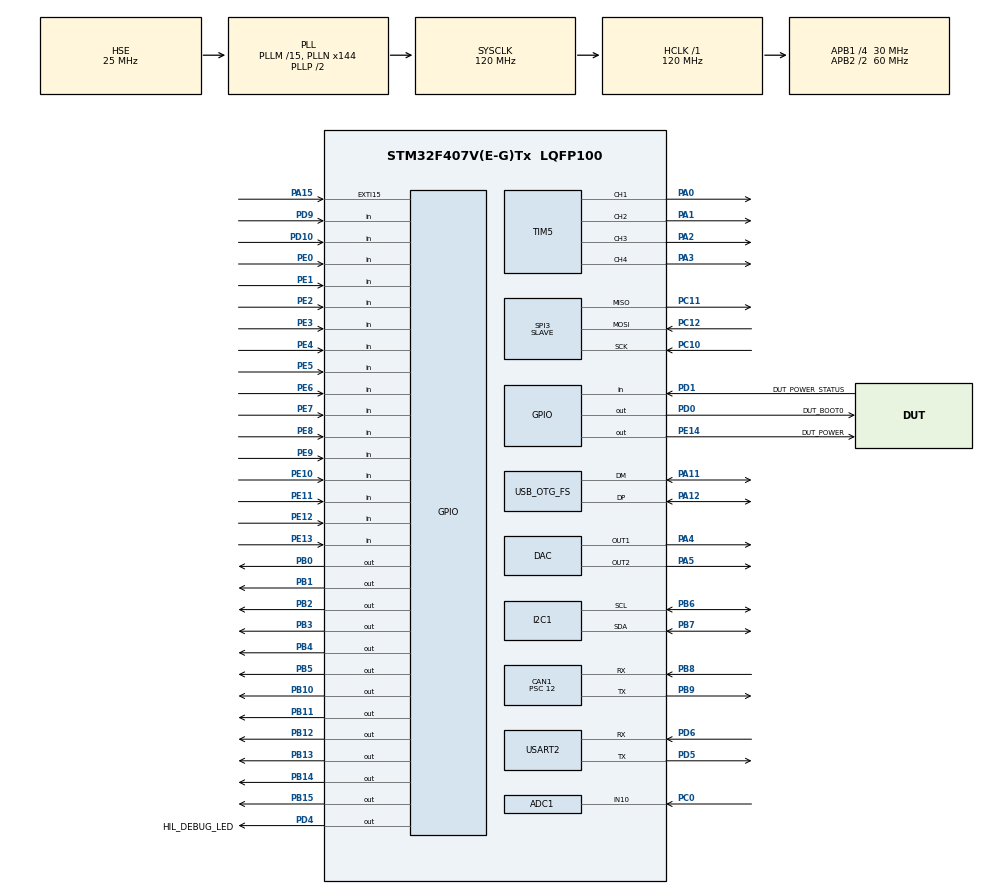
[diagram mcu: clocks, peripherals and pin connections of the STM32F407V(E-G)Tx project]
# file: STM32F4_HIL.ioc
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ADC1.Channel-2\#ChannelRegularConversion=ADC_CHANNEL_10
ADC1.NbrOfConversionFlag=1
ADC1.Rank-2\#ChannelRegularConversion=1
ADC1.SamplingTime-2\#ChannelRegularConversion=ADC_SAMPLETIME_3CYCLES
ADC1.master=1
CAN1.BS1=CAN_BS1_2TQ
CAN1.BS2=CAN_BS2_2TQ
CAN1.CalculateBaudRate=500000
CAN1.CalculateTimeBit=2000
CAN1.CalculateTimeQuantum=400.0
CAN1.Prescaler=12
DAC.DAC_Trigger=DAC_TRIGGER_T4_TRGO
Dma.DAC1.0.Direction=DMA_MEMORY_TO_PERIPH
Dma.DAC1.0.FIFOMode=DMA_FIFOMODE_DISABLE
Dma.DAC1.0.Instance=DMA1_Stream5
Dma.DAC1.0.MemDataAlignment=DMA_MDATAALIGN_WORD
Dma.DAC1.0.MemInc=DMA_MINC_ENABLE
Dma.DAC1.0.Mode=DMA_CIRCULAR
Dma.DAC1.0.PeriphDataAlignment=DMA_PDATAALIGN_WORD
Dma.DAC1.0.PeriphInc=DMA_PINC_DISABLE
Dma.DAC1.0.Priority=DMA_PRIORITY_LOW
Dma.Request0=DAC1
Mcu.Family=STM32F4
Mcu.Name=STM32F407V(E-G)Tx
Mcu.Package=LQFP100
NVIC.CAN1_RX0_IRQn=true\:6\:0\:true\:false\:true\:true\:true\:true
NVIC.DMA1_Stream5_IRQn=true\:0\:0\:false\:false\:true\:false\:true\:true
NVIC.EXTI15_10_IRQn=true\:6\:0\:true\:false\:true\:true\:true\:true
NVIC.I2C1_ER_IRQn=true\:6\:0\:true\:false\:true\:true\:true\:true
NVIC.I2C1_EV_IRQn=true\:6\:0\:true\:false\:true\:true\:true\:true
NVIC.OTG_FS_IRQn=true\:6\:0\:true\:false\:true\:false\:true\:true
NVIC.PriorityGroup=NVIC_PRIORITYGROUP_4
NVIC.SPI3_IRQn=true\:6\:0\:true\:false\:true\:true\:true\:true
NVIC.TIM1_UP_TIM10_IRQn=true\:15\:0\:false\:false\:true\:false\:true\:true
NVIC.TIM2_IRQn=true\:6\:0\:true\:false\:true\:true\:true\:true
NVIC.TIM3_IRQn=true\:6\:0\:true\:false\:true\:true\:true\:true
NVIC.TimeBase=TIM1_UP_TIM10_IRQn
NVIC.TimeBaseIP=TIM1
NVIC.USART2_IRQn=true\:6\:0\:true\:false\:true\:true\:true\:true
PA0-WKUP.Signal=S_TIM5_CH1
PA1.Signal=S_TIM5_CH2
PA11.Mode=Device_Only
PA11.Signal=USB_OTG_FS_DM
PA12.Mode=Device_Only
PA12.Signal=USB_OTG_FS_DP
PA13.Mode=Serial_Wire
PA13.Signal=SYS_JTMS-SWDIO
PA14.Mode=Serial_Wire
PA14.Signal=SYS_JTCK-SWCLK
PA15.GPIO_ModeDefaultEXTI=GPIO_MODE_IT_FALLING
PA15.GPIO_PuPd=GPIO_PULLUP
PA15.Signal=GPXTI15
PA2.Signal=S_TIM5_CH3
PA3.Signal=S_TIM5_CH4
PA4.Signal=COMP_DAC1_group
PA5.Signal=COMP_DAC2_group
PB0.Signal=GPIO_Output
PB1.Signal=GPIO_Output
PB10.Signal=GPIO_Output
PB11.Signal=GPIO_Output
PB12.Signal=GPIO_Output
PB13.Signal=GPIO_Output
PB14.Signal=GPIO_Output
PB15.Signal=GPIO_Output
PB2.Signal=GPIO_Output
PB3.Signal=GPIO_Output
PB4.Signal=GPIO_Output
PB5.Signal=GPIO_Output
PB6.GPIO_Pu=GPIO_NOPULL
PB6.Mode=I2C
PB6.Signal=I2C1_SCL
PB7.GPIO_Pu=GPIO_NOPULL
PB7.Mode=I2C
PB7.Signal=I2C1_SDA
PB8.Mode=CAN_Activate
PB8.Signal=CAN1_RX
PB9.Mode=CAN_Activate
PB9.Signal=CAN1_TX
PC0.Signal=ADCx_IN10
PC10.GPIO_PuPd=GPIO_NOPULL
PC10.Mode=Full_Duplex_Slave
PC10.Signal=SPI3_SCK
PC11.GPIO_PuPd=GPIO_NOPULL
PC11.Mode=Full_Duplex_Slave
PC11.Signal=SPI3_MISO
PC12.GPIO_PuPd=GPIO_NOPULL
PC12.Mode=Full_Duplex_Slave
PC12.Signal=SPI3_MOSI
PD0.GPIO_Label=DUT_BOOT0
PD0.GPIO_PuPd=GPIO_PULLDOWN
PD0.Signal=GPIO_Output
PD1.GPIO_Label=DUT_POWER_STATUS
PD1.Signal=GPIO_Input
PD10.GPIO_PuPd=GPIO_PULLDOWN
PD10.Signal=GPIO_Input
PD4.GPIO_Label=HIL_DEBUG_LED
PD4.Signal=GPIO_Output
PD5.Mode=Asynchronous
PD5.Signal=USART2_TX
PD6.Mode=Asynchronous
PD6.Signal=USART2_RX
PD9.GPIO_PuPd=GPIO_PULLDOWN
PD9.Signal=GPIO_Input
PE0.Signal=GPIO_Input
PE1.Signal=GPIO_Input
PE10.Signal=GPIO_Input
PE11.Signal=GPIO_Input
PE12.Signal=GPIO_Input
PE13.Signal=GPIO_Input
PE14.GPIO_Label=DUT_POWER
PE14.Signal=GPIO_Output
PE2.Signal=GPIO_Input
PE3.Signal=GPIO_Input
PE4.Signal=GPIO_Input
PE5.Signal=GPIO_Input
PE6.Signal=GPIO_Input
PE7.Signal=GPIO_Input
PE8.Signal=GPIO_Input
PE9.Signal=GPIO_Input
PH0-OSC_IN.Mode=HSE-External-Oscillator
PH0-OSC_IN.Signal=RCC_OSC_IN
PH1-OSC_OUT.Mode=HSE-External-Oscillator
PH1-OSC_OUT.Signal=RCC_OSC_OUT
ProjectManager.HeapSize=0x200
ProjectManager.StackSize=0x400
ProjectManager.TargetToolchain=STM32CubeIDE
RCC.48MHZClocksFreq_Value=48000000
RCC.AHBFreq_Value=120000000
RCC.APB1CLKDivider=RCC_HCLK_DIV4
RCC.APB1Freq_Value=30000000
RCC.APB1TimFreq_Value=60000000
RCC.APB2CLKDivider=RCC_HCLK_DIV2
RCC.APB2Freq_Value=60000000
RCC.APB2TimFreq_Value=120000000
RCC.CortexFreq_Value=120000000
RCC.HCLKFreq_Value=120000000
RCC.HSE_VALUE=25000000
RCC.HSI_VALUE=16000000
RCC.LSE_VALUE=32768
RCC.PLLM=15
RCC.PLLN=144
RCC.PLLQ=5
RCC.SYSCLKFreq_VALUE=120000000
RCC.SYSCLKSource=RCC_SYSCLKSOURCE_PLLCLK
RCC.VCOOutputFreq_Value=240000000
SH.ADCx_IN10.0=ADC1_IN10,IN10
SH.COMP_DAC1_group.0=DAC_OUT1,DAC_OUT1
SH.COMP_DAC2_group.0=DAC_OUT2,DAC_OUT2
SH.S_TIM5_CH1.0=TIM5_CH1,PWM Generation1 CH1
SH.S_TIM5_CH2.0=TIM5_CH2,PWM Generation2 CH2
SH.S_TIM5_CH3.0=TIM5_CH3,PWM Generation3 CH3
SH.S_TIM5_CH4.0=TIM5_CH4,PWM Generation4 CH4
SPI3.CLKPhase=SPI_PHASE_2EDGE
SPI3.Direction=SPI_DIRECTION_2LINES
SPI3.Mode=SPI_MODE_SLAVE
SPI3.VirtualType=VM_SLAVE
TIM2.Prescaler=2499
TIM3.Period=9999
TIM3.Prescaler=5999
TIM4.Period=10-1
TIM4.Prescaler=6-1
TIM4.TIM_MasterOutputTrigger=TIM_TRGO_UPDATE
TIM5.Channel-PWM\ Generation1\ CH1=TIM_CHANNEL_1
TIM5.Channel-PWM\ Generation2\ CH2=TIM_CHANNEL_2
TIM5.Channel-PWM\ Generation3\ CH3=TIM_CHANNEL_3
TIM5.Channel-PWM\ Generation4\ CH4=TIM_CHANNEL_4
USART2.VirtualMode=VM_ASYNC
USB_DEVICE.CLASS_NAME_FS=CDC
USB_DEVICE.VirtualMode-CDC_FS=Cdc
USB_DEVICE.VirtualModeFS=Cdc_FS
USB_OTG_FS.VirtualMode=Device_Only
VP_SYS_VS_tim1.Mode=TIM1
VP_TIM2_VS_ClockSourceINT.Mode=Internal
VP_TIM3_VS_ClockSourceINT.Mode=Internal
VP_TIM4_VS_ClockSourceINT.Mode=Internal
VP_TIM5_VS_ClockSourceINT.Mode=Internal
VP_USB_DEVICE_VS_USB_DEVICE_CDC_FS.Mode=CDC_FS
board=custom

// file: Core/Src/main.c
/* USER CODE BEGIN Header */
/**
  ******************************************************************************
  * @file           : main.c
  * @brief          : Main program body
  ******************************************************************************
  * @attention
  *
  * Copyright (c) 2026 STMicroelectronics.
  * All rights reserved.
  *
  * This software is licensed under terms that can be found in the LICENSE file
  * in the root directory of this software component.
  * If no LICENSE file comes with this software, it is provided AS-IS.
  *
  ******************************************************************************
  */
/* USER CODE END Header */
#include "main.h"
#include "usb_device.h"

/* USER CODE BEGIN Includes */
#include <string.h>
#include <stdarg.h>
#include <stdio.h>
#include <stm32f4xx_ll_gpio.h>
#include "FreeRTOS.h"
#include "task.h"
#include "usbd_cdc_if.h"
#include "cmd.h"
#include "w25q_slave.h"
#include "i2c_rtc.h"
#include "can_driver.h"
#include "analog.h"
/* USER CODE END Includes */

ADC_HandleTypeDef hadc1;

CAN_HandleTypeDef hcan1;

DAC_HandleTypeDef hdac;
DMA_HandleTypeDef hdma_dac1;

I2C_HandleTypeDef hi2c1;

TIM_HandleTypeDef htim2;
TIM_HandleTypeDef htim3;
TIM_HandleTypeDef htim4;
TIM_HandleTypeDef htim5;

UART_HandleTypeDef huart2;

void SystemClock_Config(void);
static void MX_GPIO_Init(void);
static void MX_DMA_Init(void);
static void MX_I2C1_Init(void);
static void MX_TIM2_Init(void);
static void MX_TIM3_Init(void);
static void MX_SPI3_Init(void);
static void MX_CAN1_Init(void);
static void MX_DAC_Init(void);
static void MX_ADC1_Init(void);
static void MX_USART2_UART_Init(void);
static void MX_TIM4_Init(void);
static void MX_TIM5_Init(void);
/* USER CODE BEGIN PFP */
void CDC_printf(const char *fmt, ...);
static void toggle_led(void *pvParameters);
/* USER CODE END PFP */

/* USER CODE BEGIN 0 */
uint32_t cnt = 0;
/* USER CODE END 0 */

int main(void)
{

  /* MCU Configuration--------------------------------------------------------*/

  /* Reset of all peripherals, Initializes the Flash interface and the Systick. */
  HAL_Init();

  /* Configure the system clock */
  SystemClock_Config();

  /* Initialize all configured peripherals */
  MX_GPIO_Init();
  MX_DMA_Init();
  MX_I2C1_Init();
  MX_USB_DEVICE_Init();
  MX_TIM2_Init();
  MX_TIM3_Init();
  MX_SPI3_Init();
  MX_CAN1_Init();
  MX_DAC_Init();
  MX_ADC1_Init();
  MX_USART2_UART_Init();
  MX_TIM4_Init();
  MX_TIM5_Init();
  /* USER CODE BEGIN 2 */
  HAL_TIM_Base_Start_IT(&htim2);
  if (HAL_I2C_EnableListen_IT(&hi2c1) != HAL_OK) {
	  Error_Handler();
  }
  HAL_DAC_Start(&hdac, DAC_CHANNEL_2);
  HAL_DAC_SetValue(&hdac, DAC_CHANNEL_2, DAC_ALIGN_12B_R, 0); // Khởi tạo DAC ở mức 0V

  calc_triangle();
  cal_sin();
  CAN_Init();
  CLI_Init();
  W25Q_Slave_Init(&w25q);
  xTaskCreate(CLI_Task, "CLI", 2048, NULL, 1, NULL);
  xTaskCreate(toggle_led, "toggle_led", configMINIMAL_STACK_SIZE, NULL, 1, NULL);
  vTaskStartScheduler();

  /* USER CODE END 2 */

  /* Infinite loop */
  while (1)
  {

  }
}

void SystemClock_Config(void)
{
  RCC_OscInitTypeDef RCC_OscInitStruct = {0};
  RCC_ClkInitTypeDef RCC_ClkInitStruct = {0};

  /** Configure the main internal regulator output voltage
  */
  __HAL_RCC_PWR_CLK_ENABLE();
  __HAL_PWR_VOLTAGESCALING_CONFIG(PWR_REGULATOR_VOLTAGE_SCALE1);

  /** Initializes the RCC Oscillators according to the specified parameters
  * in the RCC_OscInitTypeDef structure.
  */
  RCC_OscInitStruct.OscillatorType = RCC_OSCILLATORTYPE_HSE;
  RCC_OscInitStruct.HSEState = RCC_HSE_ON;
  RCC_OscInitStruct.PLL.PLLState = RCC_PLL_ON;
  RCC_OscInitStruct.PLL.PLLSource = RCC_PLLSOURCE_HSE;
  RCC_OscInitStruct.PLL.PLLM = 15;
  RCC_OscInitStruct.PLL.PLLN = 144;
  RCC_OscInitStruct.PLL.PLLP = RCC_PLLP_DIV2;
  RCC_OscInitStruct.PLL.PLLQ = 5;
  if (HAL_RCC_OscConfig(&RCC_OscInitStruct) != HAL_OK)
  {
    Error_Handler();
  }

  /** Initializes the CPU, AHB and APB buses clocks
  */
  RCC_ClkInitStruct.ClockType = RCC_CLOCKTYPE_HCLK|RCC_CLOCKTYPE_SYSCLK
                              |RCC_CLOCKTYPE_PCLK1|RCC_CLOCKTYPE_PCLK2;
  RCC_ClkInitStruct.SYSCLKSource = RCC_SYSCLKSOURCE_PLLCLK;
  RCC_ClkInitStruct.AHBCLKDivider = RCC_SYSCLK_DIV1;
  RCC_ClkInitStruct.APB1CLKDivider = RCC_HCLK_DIV4;
  RCC_ClkInitStruct.APB2CLKDivider = RCC_HCLK_DIV2;

  if (HAL_RCC_ClockConfig(&RCC_ClkInitStruct, FLASH_LATENCY_3) != HAL_OK)
  {
    Error_Handler();
  }
}

static void MX_ADC1_Init(void)
{

  ADC_ChannelConfTypeDef sConfig = {0};

  /** Configure the global features of the ADC (Clock, Resolution, Data Alignment and number of conversion)
  */
  hadc1.Instance = ADC1;
  hadc1.Init.ClockPrescaler = ADC_CLOCK_SYNC_PCLK_DIV2;
  hadc1.Init.Resolution = ADC_RESOLUTION_12B;
  hadc1.Init.ScanConvMode = DISABLE;
  hadc1.Init.ContinuousConvMode = DISABLE;
  hadc1.Init.DiscontinuousConvMode = DISABLE;
  hadc1.Init.ExternalTrigConvEdge = ADC_EXTERNALTRIGCONVEDGE_NONE;
  hadc1.Init.ExternalTrigConv = ADC_SOFTWARE_START;
  hadc1.Init.DataAlign = ADC_DATAALIGN_RIGHT;
  hadc1.Init.NbrOfConversion = 1;
  hadc1.Init.DMAContinuousRequests = DISABLE;
  hadc1.Init.EOCSelection = ADC_EOC_SINGLE_CONV;
  if (HAL_ADC_Init(&hadc1) != HAL_OK)
  {
    Error_Handler();
  }

  /** Configure for the selected ADC regular channel its corresponding rank in the sequencer and its sample time.
  */
  sConfig.Channel = ADC_CHANNEL_10;
  sConfig.Rank = 1;
  sConfig.SamplingTime = ADC_SAMPLETIME_3CYCLES;
  if (HAL_ADC_ConfigChannel(&hadc1, &sConfig) != HAL_OK)
  {
    Error_Handler();
  }

}

static void MX_CAN1_Init(void)
{

  hcan1.Instance = CAN1;
  hcan1.Init.Prescaler = 12;
  hcan1.Init.Mode = CAN_MODE_NORMAL;
  hcan1.Init.SyncJumpWidth = CAN_SJW_1TQ;
  hcan1.Init.TimeSeg1 = CAN_BS1_2TQ;
  hcan1.Init.TimeSeg2 = CAN_BS2_2TQ;
  hcan1.Init.TimeTriggeredMode = DISABLE;
  hcan1.Init.AutoBusOff = DISABLE;
  hcan1.Init.AutoWakeUp = DISABLE;
  hcan1.Init.AutoRetransmission = DISABLE;
  hcan1.Init.ReceiveFifoLocked = DISABLE;
  hcan1.Init.TransmitFifoPriority = DISABLE;
  if (HAL_CAN_Init(&hcan1) != HAL_OK)
  {
    Error_Handler();
  }

}

static void MX_DAC_Init(void)
{

  DAC_ChannelConfTypeDef sConfig = {0};

  /** DAC Initialization
  */
  hdac.Instance = DAC;
  if (HAL_DAC_Init(&hdac) != HAL_OK)
  {
    Error_Handler();
  }

  /** DAC channel OUT1 config
  */
  sConfig.DAC_Trigger = DAC_TRIGGER_T4_TRGO;
  sConfig.DAC_OutputBuffer = DAC_OUTPUTBUFFER_ENABLE;
  if (HAL_DAC_ConfigChannel(&hdac, &sConfig, DAC_CHANNEL_1) != HAL_OK)
  {
    Error_Handler();
  }

  /** DAC channel OUT2 config
  */
  sConfig.DAC_Trigger = DAC_TRIGGER_NONE;
  if (HAL_DAC_ConfigChannel(&hdac, &sConfig, DAC_CHANNEL_2) != HAL_OK)
  {
    Error_Handler();
  }

}

static void MX_I2C1_Init(void)
{

  hi2c1.Instance = I2C1;
  hi2c1.Init.ClockSpeed = 100000;
  hi2c1.Init.DutyCycle = I2C_DUTYCYCLE_2;
  hi2c1.Init.OwnAddress1 = 0;
  hi2c1.Init.AddressingMode = I2C_ADDRESSINGMODE_7BIT;
  hi2c1.Init.DualAddressMode = I2C_DUALADDRESS_DISABLE;
  hi2c1.Init.OwnAddress2 = 0;
  hi2c1.Init.GeneralCallMode = I2C_GENERALCALL_DISABLE;
  hi2c1.Init.NoStretchMode = I2C_NOSTRETCH_DISABLE;
  if (HAL_I2C_Init(&hi2c1) != HAL_OK)
  {
    Error_Handler();
  }

}

static void MX_SPI3_Init(void)
{

  LL_SPI_InitTypeDef SPI_InitStruct = {0};

  LL_GPIO_InitTypeDef GPIO_InitStruct = {0};

  /* Peripheral clock enable */
  LL_APB1_GRP1_EnableClock(LL_APB1_GRP1_PERIPH_SPI3);

  LL_AHB1_GRP1_EnableClock(LL_AHB1_GRP1_PERIPH_GPIOC);
  /**SPI3 GPIO Configuration
  PC10   ------> SPI3_SCK
  PC11   ------> SPI3_MISO
  PC12   ------> SPI3_MOSI
  */
  GPIO_InitStruct.Pin = LL_GPIO_PIN_10|LL_GPIO_PIN_11|LL_GPIO_PIN_12;
  GPIO_InitStruct.Mode = LL_GPIO_MODE_ALTERNATE;
  GPIO_InitStruct.Speed = LL_GPIO_SPEED_FREQ_VERY_HIGH;
  GPIO_InitStruct.OutputType = LL_GPIO_OUTPUT_PUSHPULL;
  GPIO_InitStruct.Pull = LL_GPIO_PULL_NO;
  GPIO_InitStruct.Alternate = LL_GPIO_AF_6;
  LL_GPIO_Init(GPIOC, &GPIO_InitStruct);

  /* SPI3 interrupt Init */
  NVIC_SetPriority(SPI3_IRQn, NVIC_EncodePriority(NVIC_GetPriorityGrouping(),6, 0));
  NVIC_EnableIRQ(SPI3_IRQn);

  /* SPI3 parameter configuration*/
  SPI_InitStruct.TransferDirection = LL_SPI_FULL_DUPLEX;
  SPI_InitStruct.Mode = LL_SPI_MODE_SLAVE;
  SPI_InitStruct.DataWidth = LL_SPI_DATAWIDTH_8BIT;
  SPI_InitStruct.ClockPolarity = LL_SPI_POLARITY_LOW;
  SPI_InitStruct.ClockPhase = LL_SPI_PHASE_2EDGE;
  SPI_InitStruct.NSS = LL_SPI_NSS_SOFT;
  SPI_InitStruct.BitOrder = LL_SPI_MSB_FIRST;
  SPI_InitStruct.CRCCalculation = LL_SPI_CRCCALCULATION_DISABLE;
  SPI_InitStruct.CRCPoly = 10;
  LL_SPI_Init(SPI3, &SPI_InitStruct);
  LL_SPI_SetStandard(SPI3, LL_SPI_PROTOCOL_MOTOROLA);
  /* USER CODE BEGIN SPI3_Init 2 */
  LL_SPI_Enable(SPI3);
	LL_SPI_EnableIT_RXNE(SPI3);
  /* USER CODE END SPI3_Init 2 */

}

static void MX_TIM2_Init(void)
{

  TIM_ClockConfigTypeDef sClockSourceConfig = {0};
  TIM_MasterConfigTypeDef sMasterConfig = {0};

  htim2.Instance = TIM2;
  htim2.Init.Prescaler = 2499;
  htim2.Init.CounterMode = TIM_COUNTERMODE_UP;
  htim2.Init.Period = 4294967295;
  htim2.Init.ClockDivision = TIM_CLOCKDIVISION_DIV1;
  htim2.Init.AutoReloadPreload = TIM_AUTORELOAD_PRELOAD_DISABLE;
  if (HAL_TIM_Base_Init(&htim2) != HAL_OK)
  {
    Error_Handler();
  }
  sClockSourceConfig.ClockSource = TIM_CLOCKSOURCE_INTERNAL;
  if (HAL_TIM_ConfigClockSource(&htim2, &sClockSourceConfig) != HAL_OK)
  {
    Error_Handler();
  }
  sMasterConfig.MasterOutputTrigger = TIM_TRGO_RESET;
  sMasterConfig.MasterSlaveMode = TIM_MASTERSLAVEMODE_DISABLE;
  if (HAL_TIMEx_MasterConfigSynchronization(&htim2, &sMasterConfig) != HAL_OK)
  {
    Error_Handler();
  }

}

static void MX_TIM3_Init(void)
{

  TIM_ClockConfigTypeDef sClockSourceConfig = {0};
  TIM_MasterConfigTypeDef sMasterConfig = {0};

  htim3.Instance = TIM3;
  htim3.Init.Prescaler = 5999;
  htim3.Init.CounterMode = TIM_COUNTERMODE_UP;
  htim3.Init.Period = 9999;
  htim3.Init.ClockDivision = TIM_CLOCKDIVISION_DIV1;
  htim3.Init.AutoReloadPreload = TIM_AUTORELOAD_PRELOAD_DISABLE;
  if (HAL_TIM_Base_Init(&htim3) != HAL_OK)
  {
    Error_Handler();
  }
  sClockSourceConfig.ClockSource = TIM_CLOCKSOURCE_INTERNAL;
  if (HAL_TIM_ConfigClockSource(&htim3, &sClockSourceConfig) != HAL_OK)
  {
    Error_Handler();
  }
  sMasterConfig.MasterOutputTrigger = TIM_TRGO_RESET;
  sMasterConfig.MasterSlaveMode = TIM_MASTERSLAVEMODE_DISABLE;
  if (HAL_TIMEx_MasterConfigSynchronization(&htim3, &sMasterConfig) != HAL_OK)
  {
    Error_Handler();
  }

}

static void MX_TIM4_Init(void)
{

  TIM_ClockConfigTypeDef sClockSourceConfig = {0};
  TIM_MasterConfigTypeDef sMasterConfig = {0};

  htim4.Instance = TIM4;
  htim4.Init.Prescaler = 6-1;
  htim4.Init.CounterMode = TIM_COUNTERMODE_UP;
  htim4.Init.Period = 10-1;
  htim4.Init.ClockDivision = TIM_CLOCKDIVISION_DIV1;
  htim4.Init.AutoReloadPreload = TIM_AUTORELOAD_PRELOAD_DISABLE;
  if (HAL_TIM_Base_Init(&htim4) != HAL_OK)
  {
    Error_Handler();
  }
  sClockSourceConfig.ClockSource = TIM_CLOCKSOURCE_INTERNAL;
  if (HAL_TIM_ConfigClockSource(&htim4, &sClockSourceConfig) != HAL_OK)
  {
    Error_Handler();
  }
  sMasterConfig.MasterOutputTrigger = TIM_TRGO_UPDATE;
  sMasterConfig.MasterSlaveMode = TIM_MASTERSLAVEMODE_DISABLE;
  if (HAL_TIMEx_MasterConfigSynchronization(&htim4, &sMasterConfig) != HAL_OK)
  {
    Error_Handler();
  }

}

static void MX_TIM5_Init(void)
{

  TIM_ClockConfigTypeDef sClockSourceConfig = {0};
  TIM_MasterConfigTypeDef sMasterConfig = {0};
  TIM_OC_InitTypeDef sConfigOC = {0};

  htim5.Instance = TIM5;
  htim5.Init.Prescaler = 0;
  htim5.Init.CounterMode = TIM_COUNTERMODE_UP;
  htim5.Init.Period = 4294967295;
  htim5.Init.ClockDivision = TIM_CLOCKDIVISION_DIV1;
  htim5.Init.AutoReloadPreload = TIM_AUTORELOAD_PRELOAD_DISABLE;
  if (HAL_TIM_Base_Init(&htim5) != HAL_OK)
  {
    Error_Handler();
  }
  sClockSourceConfig.ClockSource = TIM_CLOCKSOURCE_INTERNAL;
  if (HAL_TIM_ConfigClockSource(&htim5, &sClockSourceConfig) != HAL_OK)
  {
    Error_Handler();
  }
  if (HAL_TIM_PWM_Init(&htim5) != HAL_OK)
  {
    Error_Handler();
  }
  sMasterConfig.MasterOutputTrigger = TIM_TRGO_RESET;
  sMasterConfig.MasterSlaveMode = TIM_MASTERSLAVEMODE_DISABLE;
  if (HAL_TIMEx_MasterConfigSynchronization(&htim5, &sMasterConfig) != HAL_OK)
  {
    Error_Handler();
  }
  sConfigOC.OCMode = TIM_OCMODE_PWM1;
  sConfigOC.Pulse = 0;
  sConfigOC.OCPolarity = TIM_OCPOLARITY_HIGH;
  sConfigOC.OCFastMode = TIM_OCFAST_DISABLE;
  if (HAL_TIM_PWM_ConfigChannel(&htim5, &sConfigOC, TIM_CHANNEL_1) != HAL_OK)
  {
    Error_Handler();
  }
  if (HAL_TIM_PWM_ConfigChannel(&htim5, &sConfigOC, TIM_CHANNEL_2) != HAL_OK)
  {
    Error_Handler();
  }
  if (HAL_TIM_PWM_ConfigChannel(&htim5, &sConfigOC, TIM_CHANNEL_3) != HAL_OK)
  {
    Error_Handler();
  }
  if (HAL_TIM_PWM_ConfigChannel(&htim5, &sConfigOC, TIM_CHANNEL_4) != HAL_OK)
  {
    Error_Handler();
  }
  HAL_TIM_MspPostInit(&htim5);

}

static void MX_USART2_UART_Init(void)
{

  huart2.Instance = USART2;
  huart2.Init.BaudRate = 115200;
  huart2.Init.WordLength = UART_WORDLENGTH_8B;
  huart2.Init.StopBits = UART_STOPBITS_1;
  huart2.Init.Parity = UART_PARITY_NONE;
  huart2.Init.Mode = UART_MODE_TX_RX;
  huart2.Init.HwFlowCtl = UART_HWCONTROL_NONE;
  huart2.Init.OverSampling = UART_OVERSAMPLING_16;
  if (HAL_UART_Init(&huart2) != HAL_OK)
  {
    Error_Handler();
  }

}

static void MX_DMA_Init(void)
{

  /* DMA controller clock enable */
  __HAL_RCC_DMA1_CLK_ENABLE();

  /* DMA interrupt init */
  /* DMA1_Stream5_IRQn interrupt configuration */
  HAL_NVIC_SetPriority(DMA1_Stream5_IRQn, 0, 0);
  HAL_NVIC_EnableIRQ(DMA1_Stream5_IRQn);

}

static void MX_GPIO_Init(void)
{
  LL_EXTI_InitTypeDef EXTI_InitStruct = {0};
  LL_GPIO_InitTypeDef GPIO_InitStruct = {0};

  /* GPIO Ports Clock Enable */
  LL_AHB1_GRP1_EnableClock(LL_AHB1_GRP1_PERIPH_GPIOE);
  LL_AHB1_GRP1_EnableClock(LL_AHB1_GRP1_PERIPH_GPIOH);
  LL_AHB1_GRP1_EnableClock(LL_AHB1_GRP1_PERIPH_GPIOC);
  LL_AHB1_GRP1_EnableClock(LL_AHB1_GRP1_PERIPH_GPIOA);
  LL_AHB1_GRP1_EnableClock(LL_AHB1_GRP1_PERIPH_GPIOB);
  LL_AHB1_GRP1_EnableClock(LL_AHB1_GRP1_PERIPH_GPIOD);

  /**/
  LL_GPIO_ResetOutputPin(GPIOB, LL_GPIO_PIN_0|LL_GPIO_PIN_1|LL_GPIO_PIN_2|LL_GPIO_PIN_10
                          |LL_GPIO_PIN_11|LL_GPIO_PIN_12|LL_GPIO_PIN_13|LL_GPIO_PIN_14
                          |LL_GPIO_PIN_15|LL_GPIO_PIN_3|LL_GPIO_PIN_4|LL_GPIO_PIN_5);

  /**/
  LL_GPIO_ResetOutputPin(DUT_POWER_GPIO_Port, DUT_POWER_Pin);

  /**/
  LL_GPIO_ResetOutputPin(GPIOD, DUT_BOOT0_Pin|HIL_DEBUG_LED_Pin);

  /**/
  GPIO_InitStruct.Pin = LL_GPIO_PIN_2|LL_GPIO_PIN_3|LL_GPIO_PIN_4|LL_GPIO_PIN_5
                          |LL_GPIO_PIN_6|LL_GPIO_PIN_7|LL_GPIO_PIN_8|LL_GPIO_PIN_9
                          |LL_GPIO_PIN_10|LL_GPIO_PIN_11|LL_GPIO_PIN_12|LL_GPIO_PIN_13
                          |LL_GPIO_PIN_0|LL_GPIO_PIN_1;
  GPIO_InitStruct.Mode = LL_GPIO_MODE_INPUT;
  GPIO_InitStruct.Pull = LL_GPIO_PULL_NO;
  LL_GPIO_Init(GPIOE, &GPIO_InitStruct);

  /**/
  GPIO_InitStruct.Pin = LL_GPIO_PIN_0|LL_GPIO_PIN_1|LL_GPIO_PIN_2|LL_GPIO_PIN_10
                          |LL_GPIO_PIN_11|LL_GPIO_PIN_12|LL_GPIO_PIN_13|LL_GPIO_PIN_14
                          |LL_GPIO_PIN_15|LL_GPIO_PIN_3|LL_GPIO_PIN_4|LL_GPIO_PIN_5;
  GPIO_InitStruct.Mode = LL_GPIO_MODE_OUTPUT;
  GPIO_InitStruct.Speed = LL_GPIO_SPEED_FREQ_LOW;
  GPIO_InitStruct.OutputType = LL_GPIO_OUTPUT_PUSHPULL;
  GPIO_InitStruct.Pull = LL_GPIO_PULL_NO;
  LL_GPIO_Init(GPIOB, &GPIO_InitStruct);

  /**/
  GPIO_InitStruct.Pin = DUT_POWER_Pin;
  GPIO_InitStruct.Mode = LL_GPIO_MODE_OUTPUT;
  GPIO_InitStruct.Speed = LL_GPIO_SPEED_FREQ_LOW;
  GPIO_InitStruct.OutputType = LL_GPIO_OUTPUT_PUSHPULL;
  GPIO_InitStruct.Pull = LL_GPIO_PULL_NO;
  LL_GPIO_Init(DUT_POWER_GPIO_Port, &GPIO_InitStruct);

  /**/
  GPIO_InitStruct.Pin = LL_GPIO_PIN_9|LL_GPIO_PIN_10;
  GPIO_InitStruct.Mode = LL_GPIO_MODE_INPUT;
  GPIO_InitStruct.Pull = LL_GPIO_PULL_DOWN;
  LL_GPIO_Init(GPIOD, &GPIO_InitStruct);

  /**/
  GPIO_InitStruct.Pin = DUT_BOOT0_Pin;
  GPIO_InitStruct.Mode = LL_GPIO_MODE_OUTPUT;
  GPIO_InitStruct.Speed = LL_GPIO_SPEED_FREQ_LOW;
  GPIO_InitStruct.OutputType = LL_GPIO_OUTPUT_PUSHPULL;
  GPIO_InitStruct.Pull = LL_GPIO_PULL_DOWN;
  LL_GPIO_Init(DUT_BOOT0_GPIO_Port, &GPIO_InitStruct);

  /**/
  GPIO_InitStruct.Pin = DUT_POWER_STATUS_Pin;
  GPIO_InitStruct.Mode = LL_GPIO_MODE_INPUT;
  GPIO_InitStruct.Pull = LL_GPIO_PULL_NO;
  LL_GPIO_Init(DUT_POWER_STATUS_GPIO_Port, &GPIO_InitStruct);

  /**/
  GPIO_InitStruct.Pin = HIL_DEBUG_LED_Pin;
  GPIO_InitStruct.Mode = LL_GPIO_MODE_OUTPUT;
  GPIO_InitStruct.Speed = LL_GPIO_SPEED_FREQ_LOW;
  GPIO_InitStruct.OutputType = LL_GPIO_OUTPUT_PUSHPULL;
  GPIO_InitStruct.Pull = LL_GPIO_PULL_NO;
  LL_GPIO_Init(HIL_DEBUG_LED_GPIO_Port, &GPIO_InitStruct);

  /**/
  LL_SYSCFG_SetEXTISource(LL_SYSCFG_EXTI_PORTA, LL_SYSCFG_EXTI_LINE15);

  /**/
  EXTI_InitStruct.Line_0_31 = LL_EXTI_LINE_15;
  EXTI_InitStruct.LineCommand = ENABLE;
  EXTI_InitStruct.Mode = LL_EXTI_MODE_IT;
  EXTI_InitStruct.Trigger = LL_EXTI_TRIGGER_FALLING;
  LL_EXTI_Init(&EXTI_InitStruct);

  /**/
  LL_GPIO_SetPinPull(GPIOA, LL_GPIO_PIN_15, LL_GPIO_PULL_UP);

  /**/
  LL_GPIO_SetPinMode(GPIOA, LL_GPIO_PIN_15, LL_GPIO_MODE_INPUT);

  /* EXTI interrupt init*/
  NVIC_SetPriority(EXTI15_10_IRQn, NVIC_EncodePriority(NVIC_GetPriorityGrouping(),6, 0));
  NVIC_EnableIRQ(EXTI15_10_IRQn);

}

/* USER CODE BEGIN 4 */
static void toggle_led(void *pvParameters)
{
	while (1) {
		LL_GPIO_TogglePin(HIL_DEBUG_LED_GPIO_Port, HIL_DEBUG_LED_Pin);
		vTaskDelay(pdMS_TO_TICKS(500));
	}
}
/* USER CODE END 4 */

void HAL_TIM_PeriodElapsedCallback(TIM_HandleTypeDef *htim)
{
  if (htim->Instance == TIM1) {
    HAL_IncTick();
  }
  /* USER CODE BEGIN Callback 1 */

  if (htim->Instance == TIM3) {
	  rtc_tick();
	  cnt++;
  }

  /* USER CODE END Callback 1 */
}

void Error_Handler(void)
{
  __disable_irq();
  while (1)
  {
  }
}
